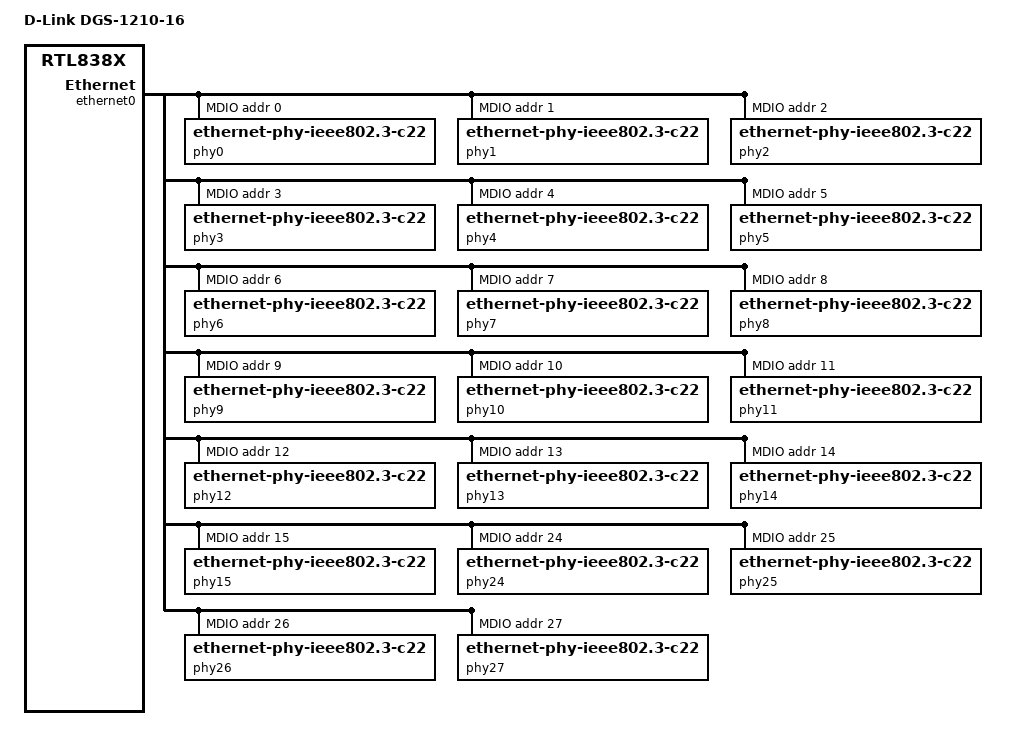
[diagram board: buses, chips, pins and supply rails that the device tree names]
// SPDX-License-Identifier: GPL-2.0-or-later OR MIT

#include "rtl8382_d-link_dgs-1210.dtsi"

/ {
	compatible = "d-link,dgs-1210-16", "realtek,rtl838x-soc";
	model = "D-Link DGS-1210-16";
};

&ethernet0 {
	mdio: mdio-bus {
		compatible = "realtek,rtl838x-mdio";
		regmap = <&ethernet0>;
		#address-cells = <1>;
		#size-cells = <0>;

		/* External phy RTL8218B */
		phy0: ethernet-phy@0 {
			reg = <0>;
			compatible = "ethernet-phy-ieee802.3-c22";
		};
		phy1: ethernet-phy@1 {
			reg = <1>;
			compatible = "ethernet-phy-ieee802.3-c22";
		};
		phy2: ethernet-phy@2 {
			reg = <2>;
			compatible = "ethernet-phy-ieee802.3-c22";
		};
		phy3: ethernet-phy@3 {
			reg = <3>;
			compatible = "ethernet-phy-ieee802.3-c22";
		};
		phy4: ethernet-phy@4 {
			reg = <4>;
			compatible = "ethernet-phy-ieee802.3-c22";
		};
		phy5: ethernet-phy@5 {
			reg = <5>;
			compatible = "ethernet-phy-ieee802.3-c22";
		};
		phy6: ethernet-phy@6 {
			reg = <6>;
			compatible = "ethernet-phy-ieee802.3-c22";
		};
		phy7: ethernet-phy@7 {
			reg = <7>;
			compatible = "ethernet-phy-ieee802.3-c22";
		};

		/* Internal phy RTL8218B */
		phy8: ethernet-phy@8 {
			reg = <8>;
			compatible = "ethernet-phy-ieee802.3-c22";
			phy-is-integrated;
		};
		phy9: ethernet-phy@9 {
			reg = <9>;
			compatible = "ethernet-phy-ieee802.3-c22";
			phy-is-integrated;
		};
		phy10: ethernet-phy@10 {
			reg = <10>;
			compatible = "ethernet-phy-ieee802.3-c22";
			phy-is-integrated;
		};
		phy11: ethernet-phy@11 {
			reg = <11>;
			compatible = "ethernet-phy-ieee802.3-c22";
			phy-is-integrated;
		};
		phy12: ethernet-phy@12 {
			reg = <12>;
			compatible = "ethernet-phy-ieee802.3-c22";
			phy-is-integrated;
		};
		phy13: ethernet-phy@13 {
			reg = <13>;
			compatible = "ethernet-phy-ieee802.3-c22";
			phy-is-integrated;
		};
		phy14: ethernet-phy@14 {
			reg = <14>;
			compatible = "ethernet-phy-ieee802.3-c22";
			phy-is-integrated;
		};
		phy15: ethernet-phy@15 {
			reg = <15>;
			compatible = "ethernet-phy-ieee802.3-c22";
			phy-is-integrated;
		};

		/* External phy: RTL8214FC */
		phy24: ethernet-phy@24 {
			compatible = "ethernet-phy-ieee802.3-c22";
			sfp;
			media = "fibre";
			reg = <24>;
		};
		phy25: ethernet-phy@25 {
			compatible = "ethernet-phy-ieee802.3-c22";
			sfp;
			media = "fibre";
			reg = <25>;
		};
		phy26: ethernet-phy@26 {
			compatible = "ethernet-phy-ieee802.3-c22";
			sfp;
			media = "fibre";
			reg = <26>;
		};
		phy27: ethernet-phy@27 {
			compatible = "ethernet-phy-ieee802.3-c22";
			sfp;
			media = "fibre";
			reg = <27>;
		};
	};
};

&switch0 {
	ports {
		#address-cells = <1>;
		#size-cells = <0>;

		port@0 {
			reg = <0>;
			label = "lan1";
			phy-handle = <&phy0>;
			phy-mode = "qsgmii";
		};
		port@1 {
			reg = <1>;
			label = "lan2";
			phy-handle = <&phy1>;
			phy-mode = "qsgmii";
		};
		port@2 {
			reg = <2>;
			label = "lan3";
			phy-handle = <&phy2>;
			phy-mode = "qsgmii";
		};
		port@3 {
			reg = <3>;
			label = "lan4";
			phy-handle = <&phy3>;
			phy-mode = "qsgmii";
		};
		port@4 {
			reg = <4>;
			label = "lan5";
			phy-handle = <&phy4>;
			phy-mode = "qsgmii";
		};
		port@5 {
			reg = <5>;
			label = "lan6";
			phy-handle = <&phy5>;
			phy-mode = "qsgmii";
		};
		port@6 {
			reg = <6>;
			label = "lan7";
			phy-handle = <&phy6>;
			phy-mode = "qsgmii";
		};
		port@7 {
			reg = <7>;
			label = "lan8";
			phy-handle = <&phy7>;
			phy-mode = "qsgmii";
		};
		port@8 {
			reg = <8>;
			label = "lan9";
			phy-handle = <&phy8>;
			phy-mode = "internal";
		};
		port@9 {
			reg = <9>;
			label = "lan10";
			phy-handle = <&phy9>;
			phy-mode = "internal";
		};
		port@10 {
			reg = <10>;
			label = "lan11";
			phy-handle = <&phy10>;
			phy-mode = "internal";
		};
		port@11 {
			reg = <11>;
			label = "lan12";
			phy-handle = <&phy11>;
			phy-mode = "internal";
		};
		port@12 {
			reg = <12>;
			label = "lan13";
			phy-handle = <&phy12>;
			phy-mode = "internal";
		};
		port@13 {
			reg = <13>;
			label = "lan14";
			phy-handle = <&phy13>;
			phy-mode = "internal";
		};
		port@14 {
			reg = <14>;
			label = "lan15";
			phy-handle = <&phy14>;
			phy-mode = "internal";
		};
		port@15 {
			reg = <15>;
			label = "lan16";
			phy-handle = <&phy15>;
			phy-mode = "internal";
		};

		port@24 {
			reg = <24>;
			label = "lan17";
			phy-handle = <&phy24>;
			phy-mode = "qsgmii";
		};
		port@25 {
			reg = <25>;
			label = "lan18";
			phy-handle = <&phy25>;
			phy-mode = "qsgmii";
		};
		port@26 {
			reg = <26>;
			label = "lan19";
			phy-handle = <&phy26>;
			phy-mode = "qsgmii";
		};
		port@27 {
			reg = <27>;
			label = "lan20";
			phy-handle = <&phy27>;
			phy-mode = "qsgmii";
		};
		port@28 {
			ethernet = <&ethernet0>;
			reg = <28>;
			phy-mode = "internal";
			fixed-link {
				speed = <1000>;
				full-duplex;
			};
		};
	};
};
